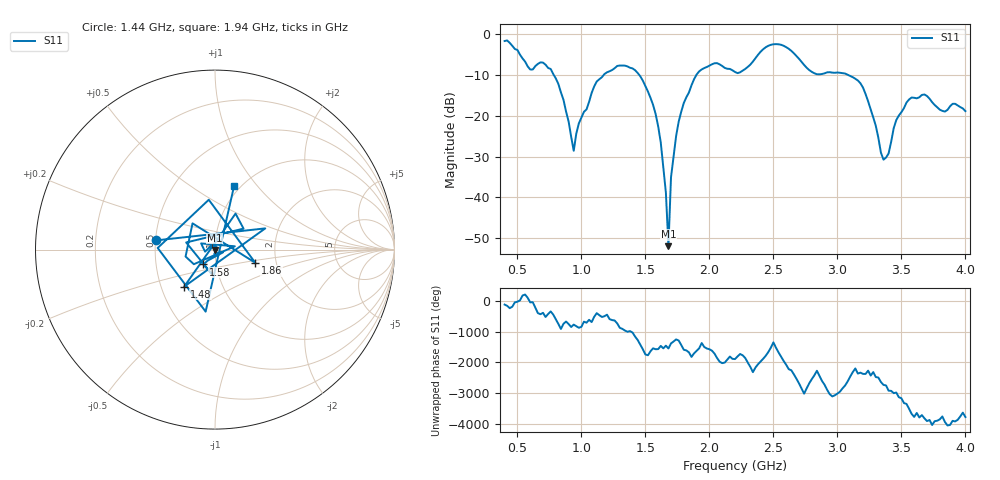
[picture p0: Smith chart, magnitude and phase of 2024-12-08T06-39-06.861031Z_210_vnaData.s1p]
!Created with skrf (http://scikit-rf.org).
# Hz S RI R 50.0
!freq ReS11 ImS11
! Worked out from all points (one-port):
!   181 points, 400 MHz to 4 GHz, reference 50 ohm
!   lowest |S11| = -51.9 dB at 1.68 GHz (marker M1), VSWR 1.01, Z = 49.9 - j0.246 ohm
!   |S11| at or under -10 dB: 783.9 MHz to 1.175 GHz (390.7 MHz wide, 39.9 % of centre); 1.452 GHz to 1.898 GHz (446.9 MHz wide, 26.7 % of centre); 3.083 GHz to end of sweep
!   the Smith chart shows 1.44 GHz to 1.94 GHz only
!   S11 on the Smith chart (normalised r, x): 1.44 GHz: 0.50, +0.06; 1.48 GHz: 0.65, -0.29; 1.58 GHz: 0.87, -0.15; 1.86 GHz: 1.55, -0.24; 1.94 GHz: 0.93, +0.77
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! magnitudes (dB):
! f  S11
! 400 MHz  -1.7
! 600 MHz  -8.7
! 760 MHz  -8.5
! 860 MHz  -16.1
! 940 MHz  -28.6
! 980 MHz  -21.9
! 1.12 GHz  -11.6
! 1.3 GHz  -7.7
! 1.44 GHz  -9.5
! 1.48 GHz  -11.4
! 1.58 GHz  -19.6
! 1.62 GHz  -26.5
! 1.66 GHz  -38.8
! 1.68 GHz  -51.9
! 1.7 GHz  -35.1
! 1.76 GHz  -21.4
! 1.86 GHz  -12.6
! 1.94 GHz  -8.7
! 2.2 GHz  -9.3
! 2.48 GHz  -2.6
! 2.66 GHz  -4.7
! 2.82 GHz  -9.6
! 3.1 GHz  -10.2
! 3.22 GHz  -14.7
! 3.36 GHz  -30.8
! 3.46 GHz  -21.1
! 3.56 GHz  -16.0
! 4 GHz  -18.9
